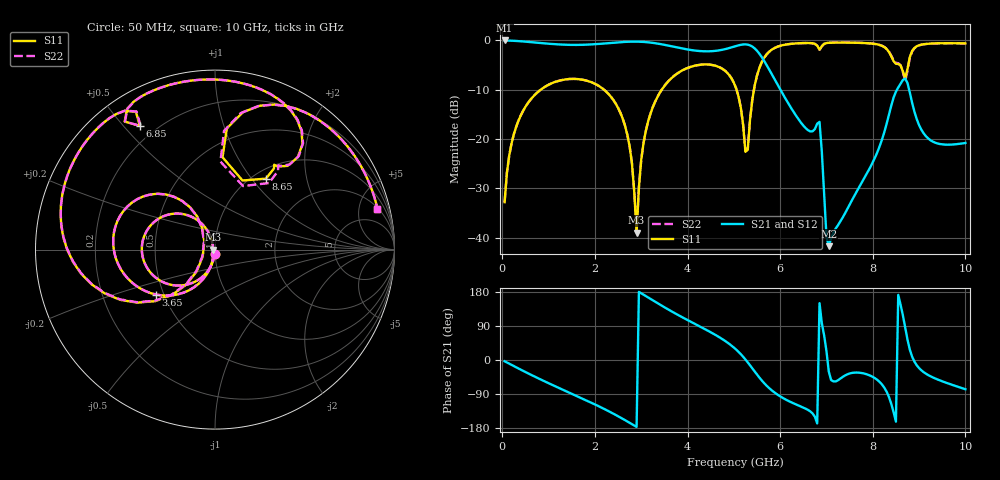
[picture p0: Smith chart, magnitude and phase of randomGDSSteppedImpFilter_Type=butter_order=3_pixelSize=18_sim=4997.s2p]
! freq	dB(S11)	phase(S11)	dB(S12)	phase(S12)
!  dB(S21)	phase(S21)	dB(S22)	phase(S22)
!S-par simulation data
#  GHz  S  DB  R 50
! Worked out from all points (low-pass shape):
!   200 points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, 50 MHz to 10 GHz, reference 50 ohm
!   highest |S21| = -0.01 dB at 50 MHz (marker M1); lowest = -41.7 dB at 7.05 GHz (marker M2)
!   |S21| within 3 dB of the highest: start of sweep to 5.575 GHz
!   lowest |S11| = -38.9 dB at 2.9 GHz (marker M3), VSWR 1.02, Z = 48.9 - j0.107 ohm
!   |S11| at or under -10 dB: start of sweep to 828.2 MHz; 2.198 GHz to 3.442 GHz (1.244 GHz wide, 44.1 % of centre); 5.058 GHz to 5.435 GHz (376.4 MHz wide, 7.17 % of centre)
!   |S22| runs from -38.7 to -0.4 dB; largest |S21 - S12| = 0
!   S11 on the Smith chart (normalised r, x): 50 MHz: 1.00, -0.05; 3.65 GHz: 0.45, -0.27; 6.85 GHz: 0.14, +0.55; 8.65 GHz: 1.14, +1.18; 10 GHz: 2.15, +7.52
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0.05  -32.77 -93.4  -0.01 -3.3  -0.01 -3.3  -32.77 -93.4
0.5  -13.45 -122.2  -0.24 -31.8  -0.24 -31.8  -13.45 -122.2
1.75  -7.99 166.9  -0.88 -102.8  -0.88 -102.8  -7.99 167.0
2.6  -15.85 116.9  -0.32 -155.2  -0.32 -155.2  -15.85 117.0
2.8  -24.93 108.8  -0.25 -169.3  -0.25 -169.3  -24.91 109.2
2.9  -38.93 -174.4  -0.25 -176.6  -0.25 -176.6  -38.67 -174.4
3.05  -20.76 -103.9  -0.30 172.3  -0.30 172.3  -20.76 -104.2
3.4  -10.62 -125.7  -0.72 146.4  -0.72 146.4  -10.62 -125.8
3.65  -7.67 -142.7  -1.18 128.7  -1.18 128.7  -7.67 -142.8
4.4  -4.87 170.1  -2.21 79.8  -2.21 79.8  -4.87 170.1
5.05  -9.73 123.8  -1.13 27.5  -1.13 27.5  -9.72 124.0
5.3  -22.15 -150.9  -0.86 -6.1  -0.86 -6.1  -21.95 -152.1
5.6  -4.46 -152.1  -3.34 -53.5  -3.34 -53.5  -4.46 -152.5
6  -1.09 167.4  -9.92 -96.0  -9.92 -96.0  -1.09 167.1
6.7  -0.58 126.2  -18.42 -141.0  -18.42 -141.0  -0.59 126.0
6.85  -1.88 121.3  -16.51 149.9  -16.51 149.9  -1.90 121.0
7.05  -0.48 116.1  -41.70 -30.5  -41.70 -30.5  -0.48 115.9
8.35  -2.34 50.3  -15.04 -97.8  -15.04 -97.8  -2.28 50.4
8.65  -6.25 54.3  -8.02 118.1  -8.02 118.1  -6.42 50.9
8.75  -5.74 85.4  -8.64 53.6  -8.64 53.6  -6.18 86.5
8.95  -1.18 67.8  -15.97 -14.0  -15.97 -14.0  -1.21 68.3
10  -0.60 14.0  -20.78 -77.2  -20.78 -77.2  -0.60 14.0
